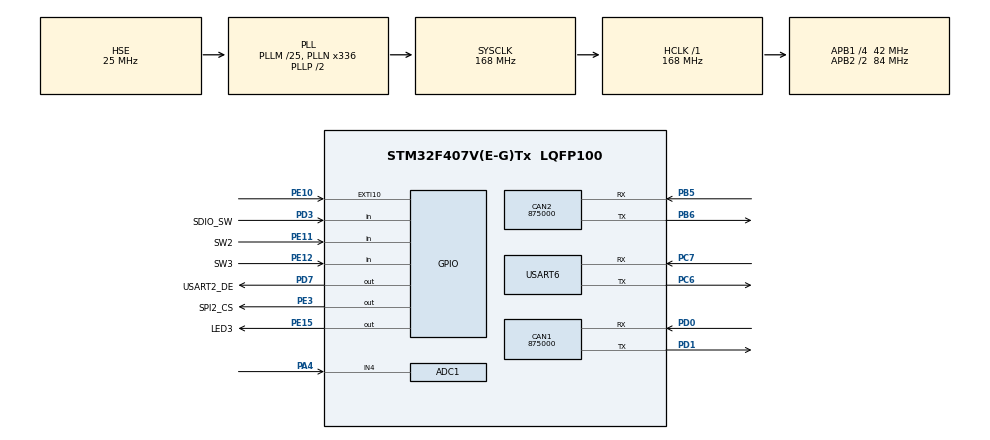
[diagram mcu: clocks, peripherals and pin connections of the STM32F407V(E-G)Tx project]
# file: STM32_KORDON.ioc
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ADC1.Channel-0\#ChannelRegularConversion=ADC_CHANNEL_4
ADC1.NbrOfConversionFlag=1
ADC1.Rank-0\#ChannelRegularConversion=1
ADC1.SamplingTime-0\#ChannelRegularConversion=ADC_SAMPLETIME_84CYCLES
ADC1.master=1
CAN1.CalculateBaudRate=875000
CAN1.CalculateTimeBit=1142
CAN1.CalculateTimeQuantum=380.95238095238096
CAN2.CalculateBaudRate=875000
CAN2.CalculateTimeBit=1142
CAN2.CalculateTimeQuantum=380.95238095238096
Mcu.Family=STM32F4
Mcu.Name=STM32F407V(E-G)Tx
Mcu.Package=LQFP100
NVIC.ADC_IRQn=true\:0\:0\:false\:false\:true\:true\:true\:true
NVIC.EXTI15_10_IRQn=true\:0\:0\:false\:false\:true\:true\:true\:true
NVIC.PriorityGroup=NVIC_PRIORITYGROUP_4
NVIC.USART6_IRQn=true\:0\:0\:false\:false\:true\:true\:true\:true
PA13.Mode=Serial_Wire
PA13.Signal=SYS_JTMS-SWDIO
PA14.Mode=Serial_Wire
PA14.Signal=SYS_JTCK-SWCLK
PA4.Signal=ADCx_IN4
PB5.Mode=CAN_Activate
PB5.Signal=CAN2_RX
PB6.Mode=CAN_Activate
PB6.Signal=CAN2_TX
PC6.Mode=Asynchronous
PC6.Signal=USART6_TX
PC7.Mode=Asynchronous
PC7.Signal=USART6_RX
PD0.Mode=CAN_Activate
PD0.Signal=CAN1_RX
PD1.Mode=CAN_Activate
PD1.Signal=CAN1_TX
PD3.GPIO_Label=SDIO_SW
PD3.Signal=GPIO_Input
PD7.GPIO_Label=USART2_DE
PD7.Signal=GPIO_Output
PE10.GPIO_ModeDefaultEXTI=GPIO_MODE_IT_FALLING
PE10.Signal=GPXTI10
PE11.GPIO_Label=SW2
PE11.Signal=GPIO_Input
PE12.GPIO_Label=SW3
PE12.Signal=GPIO_Input
PE15.GPIO_Label=LED3
PE15.PinState=GPIO_PIN_SET
PE15.Signal=GPIO_Output
PE3.GPIO_Label=SPI2_CS
PE3.Signal=GPIO_Output
PH0-OSC_IN.Mode=HSE-External-Oscillator
PH0-OSC_IN.Signal=RCC_OSC_IN
PH1-OSC_OUT.Mode=HSE-External-Oscillator
PH1-OSC_OUT.Signal=RCC_OSC_OUT
ProjectManager.HeapSize=0x200
ProjectManager.StackSize=0x400
ProjectManager.TargetToolchain=STM32CubeIDE
RCC.48MHZClocksFreq_Value=48000000
RCC.AHBFreq_Value=168000000
RCC.APB1CLKDivider=RCC_HCLK_DIV4
RCC.APB1Freq_Value=42000000
RCC.APB1TimFreq_Value=84000000
RCC.APB2CLKDivider=RCC_HCLK_DIV2
RCC.APB2Freq_Value=84000000
RCC.APB2TimFreq_Value=168000000
RCC.CortexFreq_Value=168000000
RCC.HCLKFreq_Value=168000000
RCC.HSE_VALUE=25000000
RCC.HSI_VALUE=16000000
RCC.LSE_VALUE=32768
RCC.PLLM=25
RCC.PLLN=336
RCC.PLLQ=7
RCC.PLLSourceVirtual=RCC_PLLSOURCE_HSE
RCC.SYSCLKFreq_VALUE=168000000
RCC.SYSCLKSource=RCC_SYSCLKSOURCE_PLLCLK
RCC.VCOOutputFreq_Value=336000000
SH.ADCx_IN4.0=ADC1_IN4,IN4
USART6.VirtualMode=VM_ASYNC
board=custom

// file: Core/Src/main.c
/* USER CODE BEGIN Header */
/**
  ******************************************************************************
  * @file           : main.c
  * @brief          : Main program body
  ******************************************************************************
  * @attention
  *
  * Copyright (c) 2026 STMicroelectronics.
  * All rights reserved.
  *
  * This software is licensed under terms that can be found in the LICENSE file
  * in the root directory of this software component.
  * If no LICENSE file comes with this software, it is provided AS-IS.
  *
  ******************************************************************************
  */
/* USER CODE END Header */
#include "main.h"

/* USER CODE BEGIN Includes */

#include <stdio.h>
#include <string.h>

/* USER CODE END Includes */

ADC_HandleTypeDef hadc1;

CAN_HandleTypeDef hcan1;
CAN_HandleTypeDef hcan2;

UART_HandleTypeDef huart6;

void SystemClock_Config(void);
static void MX_GPIO_Init(void);
static void MX_CAN1_Init(void);
static void MX_CAN2_Init(void);
static void MX_USART6_UART_Init(void);
static void MX_ADC1_Init(void);

int main(void)
{

  /* MCU Configuration--------------------------------------------------------*/

  /* Reset of all peripherals, Initializes the Flash interface and the Systick. */
  HAL_Init();

  /* Configure the system clock */
  SystemClock_Config();

  /* Initialize all configured peripherals */
  MX_GPIO_Init();
  MX_CAN1_Init();
  MX_CAN2_Init();
  MX_USART6_UART_Init();
  MX_ADC1_Init();
  /* USER CODE BEGIN 2 */

  HAL_TIM_PWM_Start(&htim1, TIM_CHANNEL_3);
  __HAL_TIM_SET_COMPARE(&htim1, TIM_CHANNEL_3, 950);
  /* USER CODE END 2 */

  /* Infinite loop */
  while (1)
  {

    /* USER CODE BEGIN 3 */

	  HAL_ADC_Start_IT(&hadc1);
	  HAL_Delay(500);
  }

  /* USER CODE END 3 */
}

void SystemClock_Config(void)
{
  RCC_OscInitTypeDef RCC_OscInitStruct = {0};
  RCC_ClkInitTypeDef RCC_ClkInitStruct = {0};

  /** Configure the main internal regulator output voltage
  */
  __HAL_RCC_PWR_CLK_ENABLE();
  __HAL_PWR_VOLTAGESCALING_CONFIG(PWR_REGULATOR_VOLTAGE_SCALE1);

  /** Initializes the RCC Oscillators according to the specified parameters
  * in the RCC_OscInitTypeDef structure.
  */
  RCC_OscInitStruct.OscillatorType = RCC_OSCILLATORTYPE_HSE;
  RCC_OscInitStruct.HSEState = RCC_HSE_ON;
  RCC_OscInitStruct.PLL.PLLState = RCC_PLL_ON;
  RCC_OscInitStruct.PLL.PLLSource = RCC_PLLSOURCE_HSE;
  RCC_OscInitStruct.PLL.PLLM = 25;
  RCC_OscInitStruct.PLL.PLLN = 336;
  RCC_OscInitStruct.PLL.PLLP = RCC_PLLP_DIV2;
  RCC_OscInitStruct.PLL.PLLQ = 7;
  if (HAL_RCC_OscConfig(&RCC_OscInitStruct) != HAL_OK)
  {
    Error_Handler();
  }

  /** Initializes the CPU, AHB and APB buses clocks
  */
  RCC_ClkInitStruct.ClockType = RCC_CLOCKTYPE_HCLK|RCC_CLOCKTYPE_SYSCLK
                              |RCC_CLOCKTYPE_PCLK1|RCC_CLOCKTYPE_PCLK2;
  RCC_ClkInitStruct.SYSCLKSource = RCC_SYSCLKSOURCE_PLLCLK;
  RCC_ClkInitStruct.AHBCLKDivider = RCC_SYSCLK_DIV1;
  RCC_ClkInitStruct.APB1CLKDivider = RCC_HCLK_DIV4;
  RCC_ClkInitStruct.APB2CLKDivider = RCC_HCLK_DIV2;

  if (HAL_RCC_ClockConfig(&RCC_ClkInitStruct, FLASH_LATENCY_5) != HAL_OK)
  {
    Error_Handler();
  }
}

static void MX_ADC1_Init(void)
{

  ADC_ChannelConfTypeDef sConfig = {0};

  /** Configure the global features of the ADC (Clock, Resolution, Data Alignment and number of conversion)
  */
  hadc1.Instance = ADC1;
  hadc1.Init.ClockPrescaler = ADC_CLOCK_SYNC_PCLK_DIV4;
  hadc1.Init.Resolution = ADC_RESOLUTION_12B;
  hadc1.Init.ScanConvMode = DISABLE;
  hadc1.Init.ContinuousConvMode = DISABLE;
  hadc1.Init.DiscontinuousConvMode = DISABLE;
  hadc1.Init.ExternalTrigConvEdge = ADC_EXTERNALTRIGCONVEDGE_NONE;
  hadc1.Init.ExternalTrigConv = ADC_SOFTWARE_START;
  hadc1.Init.DataAlign = ADC_DATAALIGN_RIGHT;
  hadc1.Init.NbrOfConversion = 1;
  hadc1.Init.DMAContinuousRequests = DISABLE;
  hadc1.Init.EOCSelection = ADC_EOC_SINGLE_CONV;
  if (HAL_ADC_Init(&hadc1) != HAL_OK)
  {
    Error_Handler();
  }

  /** Configure for the selected ADC regular channel its corresponding rank in the sequencer and its sample time.
  */
  sConfig.Channel = ADC_CHANNEL_4;
  sConfig.Rank = 1;
  sConfig.SamplingTime = ADC_SAMPLETIME_84CYCLES;
  if (HAL_ADC_ConfigChannel(&hadc1, &sConfig) != HAL_OK)
  {
    Error_Handler();
  }

}

static void MX_CAN1_Init(void)
{

  hcan1.Instance = CAN1;
  hcan1.Init.Prescaler = 16;
  hcan1.Init.Mode = CAN_MODE_NORMAL;
  hcan1.Init.SyncJumpWidth = CAN_SJW_1TQ;
  hcan1.Init.TimeSeg1 = CAN_BS1_1TQ;
  hcan1.Init.TimeSeg2 = CAN_BS2_1TQ;
  hcan1.Init.TimeTriggeredMode = DISABLE;
  hcan1.Init.AutoBusOff = DISABLE;
  hcan1.Init.AutoWakeUp = DISABLE;
  hcan1.Init.AutoRetransmission = DISABLE;
  hcan1.Init.ReceiveFifoLocked = DISABLE;
  hcan1.Init.TransmitFifoPriority = DISABLE;
  if (HAL_CAN_Init(&hcan1) != HAL_OK)
  {
    Error_Handler();
  }

}

static void MX_CAN2_Init(void)
{

  hcan2.Instance = CAN2;
  hcan2.Init.Prescaler = 16;
  hcan2.Init.Mode = CAN_MODE_NORMAL;
  hcan2.Init.SyncJumpWidth = CAN_SJW_1TQ;
  hcan2.Init.TimeSeg1 = CAN_BS1_1TQ;
  hcan2.Init.TimeSeg2 = CAN_BS2_1TQ;
  hcan2.Init.TimeTriggeredMode = DISABLE;
  hcan2.Init.AutoBusOff = DISABLE;
  hcan2.Init.AutoWakeUp = DISABLE;
  hcan2.Init.AutoRetransmission = DISABLE;
  hcan2.Init.ReceiveFifoLocked = DISABLE;
  hcan2.Init.TransmitFifoPriority = DISABLE;
  if (HAL_CAN_Init(&hcan2) != HAL_OK)
  {
    Error_Handler();
  }

}

static void MX_USART6_UART_Init(void)
{

  huart6.Instance = USART6;
  huart6.Init.BaudRate = 115200;
  huart6.Init.WordLength = UART_WORDLENGTH_8B;
  huart6.Init.StopBits = UART_STOPBITS_1;
  huart6.Init.Parity = UART_PARITY_NONE;
  huart6.Init.Mode = UART_MODE_TX_RX;
  huart6.Init.HwFlowCtl = UART_HWCONTROL_NONE;
  huart6.Init.OverSampling = UART_OVERSAMPLING_16;
  if (HAL_UART_Init(&huart6) != HAL_OK)
  {
    Error_Handler();
  }

}

static void MX_GPIO_Init(void)
{
  GPIO_InitTypeDef GPIO_InitStruct = {0};

  /* GPIO Ports Clock Enable */
  __HAL_RCC_GPIOE_CLK_ENABLE();
  __HAL_RCC_GPIOH_CLK_ENABLE();
  __HAL_RCC_GPIOA_CLK_ENABLE();
  __HAL_RCC_GPIOC_CLK_ENABLE();
  __HAL_RCC_GPIOD_CLK_ENABLE();
  __HAL_RCC_GPIOB_CLK_ENABLE();

  /*Configure GPIO pin Output Level */
  HAL_GPIO_WritePin(SPI2_CS_GPIO_Port, SPI2_CS_Pin, GPIO_PIN_RESET);

  /*Configure GPIO pin Output Level */
  HAL_GPIO_WritePin(LED3_GPIO_Port, LED3_Pin, GPIO_PIN_SET);

  /*Configure GPIO pin Output Level */
  HAL_GPIO_WritePin(USART2_DE_GPIO_Port, USART2_DE_Pin, GPIO_PIN_RESET);

  /*Configure GPIO pins : SPI2_CS_Pin LED3_Pin */
  GPIO_InitStruct.Pin = SPI2_CS_Pin|LED3_Pin;
  GPIO_InitStruct.Mode = GPIO_MODE_OUTPUT_PP;
  GPIO_InitStruct.Pull = GPIO_NOPULL;
  GPIO_InitStruct.Speed = GPIO_SPEED_FREQ_LOW;
  HAL_GPIO_Init(GPIOE, &GPIO_InitStruct);

  /*Configure GPIO pin : PE10 */
  GPIO_InitStruct.Pin = GPIO_PIN_10;
  GPIO_InitStruct.Mode = GPIO_MODE_IT_FALLING;
  GPIO_InitStruct.Pull = GPIO_NOPULL;
  HAL_GPIO_Init(GPIOE, &GPIO_InitStruct);

  /*Configure GPIO pins : SW2_Pin SW3_Pin */
  GPIO_InitStruct.Pin = SW2_Pin|SW3_Pin;
  GPIO_InitStruct.Mode = GPIO_MODE_INPUT;
  GPIO_InitStruct.Pull = GPIO_NOPULL;
  HAL_GPIO_Init(GPIOE, &GPIO_InitStruct);

  /*Configure GPIO pin : SDIO_SW_Pin */
  GPIO_InitStruct.Pin = SDIO_SW_Pin;
  GPIO_InitStruct.Mode = GPIO_MODE_INPUT;
  GPIO_InitStruct.Pull = GPIO_NOPULL;
  HAL_GPIO_Init(SDIO_SW_GPIO_Port, &GPIO_InitStruct);

  /*Configure GPIO pin : USART2_DE_Pin */
  GPIO_InitStruct.Pin = USART2_DE_Pin;
  GPIO_InitStruct.Mode = GPIO_MODE_OUTPUT_PP;
  GPIO_InitStruct.Pull = GPIO_NOPULL;
  GPIO_InitStruct.Speed = GPIO_SPEED_FREQ_LOW;
  HAL_GPIO_Init(USART2_DE_GPIO_Port, &GPIO_InitStruct);

  /* EXTI interrupt init*/
  HAL_NVIC_SetPriority(EXTI15_10_IRQn, 0, 0);
  HAL_NVIC_EnableIRQ(EXTI15_10_IRQn);

}

/* USER CODE BEGIN 4 */

int _write(int file, char *ptr, int len){

	HAL_UART_Transmit(&huart6, (uint8_t*)ptr, len, HAL_MAX_DELAY);
	return len;

}

void HAL_TIM_PeriodElapsedCallback(TIM_HandleTypeDef *htim){
	if (htim -> Instance == TIM2){
		HAL_GPIO_TogglePin(GPIOE, GPIO_PIN_13);
	}
}

void HAL_ADC_ConvCpltCallback(ADC_HandleTypeDef* hadc){
	if(hadc->Instance == ADC1){
		uint16_t raw_value = HAL_ADC_GetValue(hadc);
		float voltage = (raw_value / 4095.0) * 3.3;
		printf ("Voltage: %.2f V\r\n", voltage);
	}
}

/* USER CODE END 4 */

void Error_Handler(void)
{
  __disable_irq();
  while (1)
  {
  }
}
